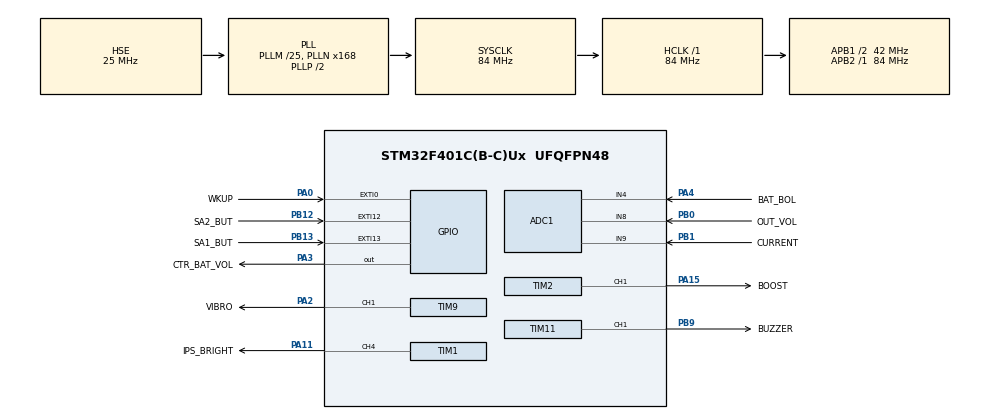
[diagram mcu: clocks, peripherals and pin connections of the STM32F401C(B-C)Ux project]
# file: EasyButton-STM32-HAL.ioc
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ADC1.Channel-0\#ChannelRegularConversion=ADC_CHANNEL_4
ADC1.Channel-1\#ChannelRegularConversion=ADC_CHANNEL_8
ADC1.Channel-2\#ChannelRegularConversion=ADC_CHANNEL_9
ADC1.Channel-3\#ChannelRegularConversion=ADC_CHANNEL_VREFINT
ADC1.ContinuousConvMode=ENABLE
ADC1.DMAContinuousRequests=ENABLE
ADC1.ExternalTrigConv=ADC_EXTERNALTRIGCONV_T3_TRGO
ADC1.InjNumberOfConversion=0
ADC1.NbrOfConversion=4
ADC1.NbrOfConversionFlag=1
ADC1.Rank-0\#ChannelRegularConversion=1
ADC1.Rank-1\#ChannelRegularConversion=2
ADC1.Rank-2\#ChannelRegularConversion=3
ADC1.Rank-3\#ChannelRegularConversion=4
ADC1.SamplingTime-0\#ChannelRegularConversion=ADC_SAMPLETIME_480CYCLES
ADC1.SamplingTime-1\#ChannelRegularConversion=ADC_SAMPLETIME_480CYCLES
ADC1.SamplingTime-2\#ChannelRegularConversion=ADC_SAMPLETIME_480CYCLES
ADC1.SamplingTime-3\#ChannelRegularConversion=ADC_SAMPLETIME_480CYCLES
ADC1.ScanConvMode=ENABLE
ADC1.master=1
Dma.ADC1.0.Direction=DMA_PERIPH_TO_MEMORY
Dma.ADC1.0.FIFOMode=DMA_FIFOMODE_DISABLE
Dma.ADC1.0.Instance=DMA2_Stream0
Dma.ADC1.0.MemDataAlignment=DMA_MDATAALIGN_WORD
Dma.ADC1.0.MemInc=DMA_MINC_ENABLE
Dma.ADC1.0.Mode=DMA_CIRCULAR
Dma.ADC1.0.PeriphDataAlignment=DMA_PDATAALIGN_WORD
Dma.ADC1.0.PeriphInc=DMA_PINC_DISABLE
Dma.ADC1.0.Priority=DMA_PRIORITY_LOW
Dma.Request0=ADC1
FREERTOS.Tasks01=ButtonTask,24,128,StartButtonTask,Default,NULL,Dynamic,NULL,NULL;AdcCalc,24,512,StartAdcCalc,Default,NULL,Dynamic,NULL,NULL;Handler1ms,25,128,StartHandler1ms,Default,NULL,Dynamic,NULL,NULL
Mcu.Family=STM32F4
Mcu.Name=STM32F401C(B-C)Ux
Mcu.Package=UFQFPN48
NVIC.ADC_IRQn=true\:5\:0\:false\:false\:true\:true\:true\:true\:true
NVIC.DMA2_Stream0_IRQn=true\:5\:0\:false\:false\:true\:true\:false\:true\:true
NVIC.EXTI0_IRQn=true\:5\:0\:false\:false\:true\:true\:true\:true\:true
NVIC.EXTI15_10_IRQn=true\:5\:0\:false\:false\:true\:true\:true\:true\:true
NVIC.PriorityGroup=NVIC_PRIORITYGROUP_4
NVIC.TIM1_UP_TIM10_IRQn=true\:15\:0\:false\:false\:true\:false\:false\:true\:true
NVIC.TimeBase=TIM1_UP_TIM10_IRQn
NVIC.TimeBaseIP=TIM10
PA0-WKUP.GPIO_Label=WKUP
PA0-WKUP.GPIO_ModeDefaultEXTI=GPIO_MODE_IT_FALLING
PA0-WKUP.GPIO_PuPd=GPIO_PULLUP
PA0-WKUP.Signal=GPXTI0
PA11.GPIO_Label=IPS_BRIGHT
PA11.GPIO_PuPd=GPIO_PULLUP
PA11.GPIO_Speed=GPIO_SPEED_FREQ_MEDIUM
PA11.Signal=S_TIM1_CH4
PA13.Mode=Trace_Asynchronous_SW
PA13.Signal=SYS_JTMS-SWDIO
PA14.Mode=Trace_Asynchronous_SW
PA14.Signal=SYS_JTCK-SWCLK
PA15.GPIO_Label=BOOST
PA15.GPIO_PuPd=GPIO_PULLDOWN
PA15.GPIO_Speed=GPIO_SPEED_FREQ_VERY_HIGH
PA15.Signal=S_TIM2_CH1_ETR
PA2.GPIO_Label=VIBRO
PA2.Signal=S_TIM9_CH1
PA3.GPIO_Label=CTR_BAT_VOL
PA3.GPIO_ModeDefaultOutputPP=GPIO_MODE_OUTPUT_OD
PA3.GPIO_PuPd=GPIO_NOPULL
PA3.PinState=GPIO_PIN_RESET
PA3.Signal=GPIO_Output
PA4.GPIO_Label=BAT_BOL
PA4.Signal=ADCx_IN4
PB0.GPIO_Label=OUT_VOL
PB0.Signal=ADCx_IN8
PB1.GPIO_Label=CURRENT
PB1.Signal=ADCx_IN9
PB12.GPIO_Label=SA2_BUT
PB12.GPIO_ModeDefaultEXTI=GPIO_MODE_IT_FALLING
PB12.GPIO_PuPd=GPIO_PULLUP
PB12.Signal=GPXTI12
PB13.GPIO_Label=SA1_BUT
PB13.GPIO_ModeDefaultEXTI=GPIO_MODE_IT_FALLING
PB13.GPIO_PuPd=GPIO_PULLUP
PB13.Signal=GPXTI13
PB3.Mode=Trace_Asynchronous_SW
PB3.Signal=SYS_JTDO-SWO
PB9.GPIO_Label=BUZZER
PB9.GPIO_PuPd=GPIO_PULLDOWN
PB9.GPIO_Speed=GPIO_SPEED_FREQ_MEDIUM
PB9.Signal=S_TIM11_CH1
PH0\ -\ OSC_IN.Mode=HSE-External-Oscillator
PH0\ -\ OSC_IN.Signal=RCC_OSC_IN
PH1\ -\ OSC_OUT.Mode=HSE-External-Oscillator
PH1\ -\ OSC_OUT.Signal=RCC_OSC_OUT
ProjectManager.HeapSize=0x400
ProjectManager.StackSize=0x800
ProjectManager.TargetToolchain=STM32CubeIDE
RCC.48MHZClocksFreq_Value=42000000
RCC.AHBFreq_Value=84000000
RCC.APB1CLKDivider=RCC_HCLK_DIV2
RCC.APB1Freq_Value=42000000
RCC.APB1TimFreq_Value=84000000
RCC.APB2Freq_Value=84000000
RCC.APB2TimFreq_Value=84000000
RCC.CortexFreq_Value=84000000
RCC.EnbaleCSS=true
RCC.HCLKFreq_Value=84000000
RCC.HSE_VALUE=25000000
RCC.HSI_VALUE=16000000
RCC.LSE_VALUE=32768
RCC.PLLM=25
RCC.PLLN=168
RCC.PLLSourceVirtual=RCC_PLLSOURCE_HSE
RCC.SYSCLKFreq_VALUE=84000000
RCC.SYSCLKSource=RCC_SYSCLKSOURCE_PLLCLK
RCC.VCOOutputFreq_Value=168000000
SH.ADCx_IN4.0=ADC1_IN4,IN4
SH.ADCx_IN8.0=ADC1_IN8,IN8
SH.ADCx_IN9.0=ADC1_IN9,IN9
SH.S_TIM11_CH1.0=TIM11_CH1,PWM Generation1 CH1
SH.S_TIM1_CH4.0=TIM1_CH4,PWM Generation4 CH4
SH.S_TIM2_CH1_ETR.0=TIM2_CH1,PWM Generation1 CH1
SH.S_TIM9_CH1.0=TIM9_CH1,PWM Generation1 CH1
TIM1.Channel-PWM\ Generation4\ CH4=TIM_CHANNEL_4
TIM1.OCIdleState_4=TIM_OCIDLESTATE_SET
TIM1.OCPolarity_4=TIM_OCPOLARITY_LOW
TIM1.Period=1000-1
TIM1.Prescaler=84-1
TIM1.Pulse-PWM\ Generation4\ CH4=500
TIM11.Channel=TIM_CHANNEL_1
TIM11.Period=1000-1
TIM11.Prescaler=42-1
TIM2.Channel-PWM\ Generation1\ CH1=TIM_CHANNEL_1
TIM2.Period=2100-1
TIM2.Prescaler=0
TIM2.Pulse-PWM\ Generation1\ CH1=0
TIM3.Period=10000-1
TIM3.Prescaler=420-2
TIM3.TIM_MasterOutputTrigger=TIM_TRGO_UPDATE
TIM9.Channel-PWM\ Generation1\ CH1=TIM_CHANNEL_1
TIM9.Period=1000-1
TIM9.Prescaler=84-1
TIM9.Pulse-PWM\ Generation1\ CH1=500
VP_ADC1_Vref_Input.Mode=IN-Vrefint
VP_FREERTOS_VS_CMSIS_V2.Mode=CMSIS_V2
VP_SYS_VS_tim10.Mode=TIM10
VP_TIM11_VS_ClockSourceINT.Mode=Enable_Timer
VP_TIM1_VS_ClockSourceINT.Mode=Internal
VP_TIM2_VS_ClockSourceINT.Mode=Internal
VP_TIM3_VS_ClockSourceINT.Mode=Internal
VP_TIM9_VS_ClockSourceINT.Mode=Internal
board=custom

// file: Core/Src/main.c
/* USER CODE BEGIN Header */
/**
  ******************************************************************************
  * @file           : main.c
  * @brief          : Main program body
  ******************************************************************************
  * @attention
  *
  * Copyright (c) 2022 STMicroelectronics.
  * All rights reserved.
  *
  * This software is licensed under terms that can be found in the LICENSE file
  * in the root directory of this software component.
  * If no LICENSE file comes with this software, it is provided AS-IS.
  *
  ******************************************************************************
  */
/* USER CODE END Header */
#include "main.h"
#include "cmsis_os.h"

/* USER CODE BEGIN Includes */
#include "easybut.h"
/* USER CODE END Includes */

 ADC_HandleTypeDef hadc1;
DMA_HandleTypeDef hdma_adc1;

TIM_HandleTypeDef htim1;
TIM_HandleTypeDef htim2;
TIM_HandleTypeDef htim3;
TIM_HandleTypeDef htim9;
TIM_HandleTypeDef htim11;

/* Definitions for ButtonTask */
osThreadId_t ButtonTaskHandle;
const osThreadAttr_t ButtonTask_attributes = {
  .name = "ButtonTask",
  .stack_size = 128 * 4,
  .priority = (osPriority_t) osPriorityNormal,
};
/* Definitions for AdcCalc */
osThreadId_t AdcCalcHandle;
const osThreadAttr_t AdcCalc_attributes = {
  .name = "AdcCalc",
  .stack_size = 512 * 4,
  .priority = (osPriority_t) osPriorityNormal,
};
/* Definitions for Handler1ms */
osThreadId_t Handler1msHandle;
const osThreadAttr_t Handler1ms_attributes = {
  .name = "Handler1ms",
  .stack_size = 128 * 4,
  .priority = (osPriority_t) osPriorityNormal1,
};

void SystemClock_Config(void);
static void MX_GPIO_Init(void);
static void MX_TIM11_Init(void);
static void MX_TIM2_Init(void);
static void MX_DMA_Init(void);
static void MX_TIM9_Init(void);
static void MX_ADC1_Init(void);
static void MX_TIM1_Init(void);
static void MX_TIM3_Init(void);
void StartButtonTask(void *argument);
void StartAdcCalc(void *argument);
void StartHandler1ms(void *argument);

int main(void)
{

  /* MCU Configuration--------------------------------------------------------*/

  /* Reset of all peripherals, Initializes the Flash interface and the Systick. */
  HAL_Init();

  /* Configure the system clock */
  SystemClock_Config();

  /* Initialize all configured peripherals */
  MX_GPIO_Init();
  MX_TIM11_Init();
  MX_TIM2_Init();
  MX_DMA_Init();
  MX_TIM9_Init();
  MX_ADC1_Init();
  MX_TIM1_Init();
  MX_TIM3_Init();
  /* USER CODE BEGIN 2 */

  /* Buzzer */
  HAL_TIM_PWM_Start(&htim11, TIM_CHANNEL_1);
  __HAL_TIM_SET_COMPARE(&htim11, TIM_CHANNEL_1, 0);

  EASYBUT_InitButton(BUT_SA1, SA1_BUT_GPIO_Port, SA1_BUT_Pin);
  EASYBUT_InitButton(BUT_SA2, SA2_BUT_GPIO_Port, SA2_BUT_Pin);
  EASYBUT_InitButton(BUT_WKUP, WKUP_GPIO_Port, WKUP_Pin);

  /* USER CODE END 2 */

  /* Init scheduler */
  osKernelInitialize();

  /* Create the thread(s) */
  /* creation of ButtonTask */
  ButtonTaskHandle = osThreadNew(StartButtonTask, NULL, &ButtonTask_attributes);

  /* creation of AdcCalc */
  AdcCalcHandle = osThreadNew(StartAdcCalc, NULL, &AdcCalc_attributes);

  /* creation of Handler1ms */
  Handler1msHandle = osThreadNew(StartHandler1ms, NULL, &Handler1ms_attributes);

  /* Start scheduler */
  osKernelStart();

  /* We should never get here as control is now taken by the scheduler */
  /* Infinite loop */
  while (1)
  {

  }
}

void SystemClock_Config(void)
{
  RCC_OscInitTypeDef RCC_OscInitStruct = {0};
  RCC_ClkInitTypeDef RCC_ClkInitStruct = {0};

  /** Configure the main internal regulator output voltage
  */
  __HAL_RCC_PWR_CLK_ENABLE();
  __HAL_PWR_VOLTAGESCALING_CONFIG(PWR_REGULATOR_VOLTAGE_SCALE2);

  /** Initializes the RCC Oscillators according to the specified parameters
  * in the RCC_OscInitTypeDef structure.
  */
  RCC_OscInitStruct.OscillatorType = RCC_OSCILLATORTYPE_HSE;
  RCC_OscInitStruct.HSEState = RCC_HSE_ON;
  RCC_OscInitStruct.PLL.PLLState = RCC_PLL_ON;
  RCC_OscInitStruct.PLL.PLLSource = RCC_PLLSOURCE_HSE;
  RCC_OscInitStruct.PLL.PLLM = 25;
  RCC_OscInitStruct.PLL.PLLN = 168;
  RCC_OscInitStruct.PLL.PLLP = RCC_PLLP_DIV2;
  RCC_OscInitStruct.PLL.PLLQ = 4;
  if (HAL_RCC_OscConfig(&RCC_OscInitStruct) != HAL_OK)
  {
    Error_Handler();
  }

  /** Initializes the CPU, AHB and APB buses clocks
  */
  RCC_ClkInitStruct.ClockType = RCC_CLOCKTYPE_HCLK|RCC_CLOCKTYPE_SYSCLK
                              |RCC_CLOCKTYPE_PCLK1|RCC_CLOCKTYPE_PCLK2;
  RCC_ClkInitStruct.SYSCLKSource = RCC_SYSCLKSOURCE_PLLCLK;
  RCC_ClkInitStruct.AHBCLKDivider = RCC_SYSCLK_DIV1;
  RCC_ClkInitStruct.APB1CLKDivider = RCC_HCLK_DIV2;
  RCC_ClkInitStruct.APB2CLKDivider = RCC_HCLK_DIV1;

  if (HAL_RCC_ClockConfig(&RCC_ClkInitStruct, FLASH_LATENCY_2) != HAL_OK)
  {
    Error_Handler();
  }

  /** Enables the Clock Security System
  */
  HAL_RCC_EnableCSS();
}

static void MX_ADC1_Init(void)
{

  ADC_ChannelConfTypeDef sConfig = {0};

  /** Configure the global features of the ADC (Clock, Resolution, Data Alignment and number of conversion)
  */
  hadc1.Instance = ADC1;
  hadc1.Init.ClockPrescaler = ADC_CLOCK_SYNC_PCLK_DIV4;
  hadc1.Init.Resolution = ADC_RESOLUTION_12B;
  hadc1.Init.ScanConvMode = ENABLE;
  hadc1.Init.ContinuousConvMode = ENABLE;
  hadc1.Init.DiscontinuousConvMode = DISABLE;
  hadc1.Init.ExternalTrigConvEdge = ADC_EXTERNALTRIGCONVEDGE_RISING;
  hadc1.Init.ExternalTrigConv = ADC_EXTERNALTRIGCONV_T3_TRGO;
  hadc1.Init.DataAlign = ADC_DATAALIGN_RIGHT;
  hadc1.Init.NbrOfConversion = 4;
  hadc1.Init.DMAContinuousRequests = ENABLE;
  hadc1.Init.EOCSelection = ADC_EOC_SINGLE_CONV;
  if (HAL_ADC_Init(&hadc1) != HAL_OK)
  {
    Error_Handler();
  }

  /** Configure for the selected ADC regular channel its corresponding rank in the sequencer and its sample time.
  */
  sConfig.Channel = ADC_CHANNEL_4;
  sConfig.Rank = 1;
  sConfig.SamplingTime = ADC_SAMPLETIME_480CYCLES;
  if (HAL_ADC_ConfigChannel(&hadc1, &sConfig) != HAL_OK)
  {
    Error_Handler();
  }

  /** Configure for the selected ADC regular channel its corresponding rank in the sequencer and its sample time.
  */
  sConfig.Channel = ADC_CHANNEL_8;
  sConfig.Rank = 2;
  if (HAL_ADC_ConfigChannel(&hadc1, &sConfig) != HAL_OK)
  {
    Error_Handler();
  }

  /** Configure for the selected ADC regular channel its corresponding rank in the sequencer and its sample time.
  */
  sConfig.Channel = ADC_CHANNEL_9;
  sConfig.Rank = 3;
  if (HAL_ADC_ConfigChannel(&hadc1, &sConfig) != HAL_OK)
  {
    Error_Handler();
  }

  /** Configure for the selected ADC regular channel its corresponding rank in the sequencer and its sample time.
  */
  sConfig.Channel = ADC_CHANNEL_VREFINT;
  sConfig.Rank = 4;
  if (HAL_ADC_ConfigChannel(&hadc1, &sConfig) != HAL_OK)
  {
    Error_Handler();
  }

}

static void MX_TIM1_Init(void)
{

  TIM_ClockConfigTypeDef sClockSourceConfig = {0};
  TIM_MasterConfigTypeDef sMasterConfig = {0};
  TIM_OC_InitTypeDef sConfigOC = {0};
  TIM_BreakDeadTimeConfigTypeDef sBreakDeadTimeConfig = {0};

  htim1.Instance = TIM1;
  htim1.Init.Prescaler = 84-1;
  htim1.Init.CounterMode = TIM_COUNTERMODE_UP;
  htim1.Init.Period = 1000-1;
  htim1.Init.ClockDivision = TIM_CLOCKDIVISION_DIV1;
  htim1.Init.RepetitionCounter = 0;
  htim1.Init.AutoReloadPreload = TIM_AUTORELOAD_PRELOAD_DISABLE;
  if (HAL_TIM_Base_Init(&htim1) != HAL_OK)
  {
    Error_Handler();
  }
  sClockSourceConfig.ClockSource = TIM_CLOCKSOURCE_INTERNAL;
  if (HAL_TIM_ConfigClockSource(&htim1, &sClockSourceConfig) != HAL_OK)
  {
    Error_Handler();
  }
  if (HAL_TIM_PWM_Init(&htim1) != HAL_OK)
  {
    Error_Handler();
  }
  sMasterConfig.MasterOutputTrigger = TIM_TRGO_RESET;
  sMasterConfig.MasterSlaveMode = TIM_MASTERSLAVEMODE_DISABLE;
  if (HAL_TIMEx_MasterConfigSynchronization(&htim1, &sMasterConfig) != HAL_OK)
  {
    Error_Handler();
  }
  sConfigOC.OCMode = TIM_OCMODE_PWM1;
  sConfigOC.Pulse = 500;
  sConfigOC.OCPolarity = TIM_OCPOLARITY_LOW;
  sConfigOC.OCFastMode = TIM_OCFAST_DISABLE;
  sConfigOC.OCIdleState = TIM_OCIDLESTATE_SET;
  sConfigOC.OCNIdleState = TIM_OCNIDLESTATE_RESET;
  if (HAL_TIM_PWM_ConfigChannel(&htim1, &sConfigOC, TIM_CHANNEL_4) != HAL_OK)
  {
    Error_Handler();
  }
  sBreakDeadTimeConfig.OffStateRunMode = TIM_OSSR_DISABLE;
  sBreakDeadTimeConfig.OffStateIDLEMode = TIM_OSSI_DISABLE;
  sBreakDeadTimeConfig.LockLevel = TIM_LOCKLEVEL_OFF;
  sBreakDeadTimeConfig.DeadTime = 0;
  sBreakDeadTimeConfig.BreakState = TIM_BREAK_DISABLE;
  sBreakDeadTimeConfig.BreakPolarity = TIM_BREAKPOLARITY_HIGH;
  sBreakDeadTimeConfig.AutomaticOutput = TIM_AUTOMATICOUTPUT_DISABLE;
  if (HAL_TIMEx_ConfigBreakDeadTime(&htim1, &sBreakDeadTimeConfig) != HAL_OK)
  {
    Error_Handler();
  }
  HAL_TIM_MspPostInit(&htim1);

}

static void MX_TIM2_Init(void)
{

  TIM_ClockConfigTypeDef sClockSourceConfig = {0};
  TIM_MasterConfigTypeDef sMasterConfig = {0};
  TIM_OC_InitTypeDef sConfigOC = {0};

  htim2.Instance = TIM2;
  htim2.Init.Prescaler = 0;
  htim2.Init.CounterMode = TIM_COUNTERMODE_UP;
  htim2.Init.Period = 2100-1;
  htim2.Init.ClockDivision = TIM_CLOCKDIVISION_DIV1;
  htim2.Init.AutoReloadPreload = TIM_AUTORELOAD_PRELOAD_DISABLE;
  if (HAL_TIM_Base_Init(&htim2) != HAL_OK)
  {
    Error_Handler();
  }
  sClockSourceConfig.ClockSource = TIM_CLOCKSOURCE_INTERNAL;
  if (HAL_TIM_ConfigClockSource(&htim2, &sClockSourceConfig) != HAL_OK)
  {
    Error_Handler();
  }
  if (HAL_TIM_PWM_Init(&htim2) != HAL_OK)
  {
    Error_Handler();
  }
  sMasterConfig.MasterOutputTrigger = TIM_TRGO_RESET;
  sMasterConfig.MasterSlaveMode = TIM_MASTERSLAVEMODE_DISABLE;
  if (HAL_TIMEx_MasterConfigSynchronization(&htim2, &sMasterConfig) != HAL_OK)
  {
    Error_Handler();
  }
  sConfigOC.OCMode = TIM_OCMODE_PWM1;
  sConfigOC.Pulse = 0;
  sConfigOC.OCPolarity = TIM_OCPOLARITY_HIGH;
  sConfigOC.OCFastMode = TIM_OCFAST_DISABLE;
  if (HAL_TIM_PWM_ConfigChannel(&htim2, &sConfigOC, TIM_CHANNEL_1) != HAL_OK)
  {
    Error_Handler();
  }
  HAL_TIM_MspPostInit(&htim2);

}

static void MX_TIM3_Init(void)
{

  TIM_ClockConfigTypeDef sClockSourceConfig = {0};
  TIM_MasterConfigTypeDef sMasterConfig = {0};

  htim3.Instance = TIM3;
  htim3.Init.Prescaler = 420-2;
  htim3.Init.CounterMode = TIM_COUNTERMODE_UP;
  htim3.Init.Period = 10000-1;
  htim3.Init.ClockDivision = TIM_CLOCKDIVISION_DIV1;
  htim3.Init.AutoReloadPreload = TIM_AUTORELOAD_PRELOAD_DISABLE;
  if (HAL_TIM_Base_Init(&htim3) != HAL_OK)
  {
    Error_Handler();
  }
  sClockSourceConfig.ClockSource = TIM_CLOCKSOURCE_INTERNAL;
  if (HAL_TIM_ConfigClockSource(&htim3, &sClockSourceConfig) != HAL_OK)
  {
    Error_Handler();
  }
  sMasterConfig.MasterOutputTrigger = TIM_TRGO_UPDATE;
  sMasterConfig.MasterSlaveMode = TIM_MASTERSLAVEMODE_DISABLE;
  if (HAL_TIMEx_MasterConfigSynchronization(&htim3, &sMasterConfig) != HAL_OK)
  {
    Error_Handler();
  }

}

static void MX_TIM9_Init(void)
{

  TIM_ClockConfigTypeDef sClockSourceConfig = {0};
  TIM_OC_InitTypeDef sConfigOC = {0};

  htim9.Instance = TIM9;
  htim9.Init.Prescaler = 84-1;
  htim9.Init.CounterMode = TIM_COUNTERMODE_UP;
  htim9.Init.Period = 1000-1;
  htim9.Init.ClockDivision = TIM_CLOCKDIVISION_DIV1;
  htim9.Init.AutoReloadPreload = TIM_AUTORELOAD_PRELOAD_DISABLE;
  if (HAL_TIM_Base_Init(&htim9) != HAL_OK)
  {
    Error_Handler();
  }
  sClockSourceConfig.ClockSource = TIM_CLOCKSOURCE_INTERNAL;
  if (HAL_TIM_ConfigClockSource(&htim9, &sClockSourceConfig) != HAL_OK)
  {
    Error_Handler();
  }
  if (HAL_TIM_PWM_Init(&htim9) != HAL_OK)
  {
    Error_Handler();
  }
  sConfigOC.OCMode = TIM_OCMODE_PWM1;
  sConfigOC.Pulse = 500;
  sConfigOC.OCPolarity = TIM_OCPOLARITY_HIGH;
  sConfigOC.OCFastMode = TIM_OCFAST_DISABLE;
  if (HAL_TIM_PWM_ConfigChannel(&htim9, &sConfigOC, TIM_CHANNEL_1) != HAL_OK)
  {
    Error_Handler();
  }
  HAL_TIM_MspPostInit(&htim9);

}

static void MX_TIM11_Init(void)
{

  TIM_OC_InitTypeDef sConfigOC = {0};

  htim11.Instance = TIM11;
  htim11.Init.Prescaler = 42-1;
  htim11.Init.CounterMode = TIM_COUNTERMODE_UP;
  htim11.Init.Period = 1000-1;
  htim11.Init.ClockDivision = TIM_CLOCKDIVISION_DIV1;
  htim11.Init.AutoReloadPreload = TIM_AUTORELOAD_PRELOAD_DISABLE;
  if (HAL_TIM_Base_Init(&htim11) != HAL_OK)
  {
    Error_Handler();
  }
  if (HAL_TIM_PWM_Init(&htim11) != HAL_OK)
  {
    Error_Handler();
  }
  sConfigOC.OCMode = TIM_OCMODE_PWM1;
  sConfigOC.Pulse = 0;
  sConfigOC.OCPolarity = TIM_OCPOLARITY_HIGH;
  sConfigOC.OCFastMode = TIM_OCFAST_DISABLE;
  if (HAL_TIM_PWM_ConfigChannel(&htim11, &sConfigOC, TIM_CHANNEL_1) != HAL_OK)
  {
    Error_Handler();
  }
  HAL_TIM_MspPostInit(&htim11);

}

static void MX_DMA_Init(void)
{

  /* DMA controller clock enable */
  __HAL_RCC_DMA2_CLK_ENABLE();

  /* DMA interrupt init */
  /* DMA2_Stream0_IRQn interrupt configuration */
  HAL_NVIC_SetPriority(DMA2_Stream0_IRQn, 5, 0);
  HAL_NVIC_EnableIRQ(DMA2_Stream0_IRQn);

}

static void MX_GPIO_Init(void)
{
  GPIO_InitTypeDef GPIO_InitStruct = {0};

  /* GPIO Ports Clock Enable */
  __HAL_RCC_GPIOH_CLK_ENABLE();
  __HAL_RCC_GPIOA_CLK_ENABLE();
  __HAL_RCC_GPIOB_CLK_ENABLE();

  /*Configure GPIO pin Output Level */
  HAL_GPIO_WritePin(CTR_BAT_VOL_GPIO_Port, CTR_BAT_VOL_Pin, GPIO_PIN_RESET);

  /*Configure GPIO pin : WKUP_Pin */
  GPIO_InitStruct.Pin = WKUP_Pin;
  GPIO_InitStruct.Mode = GPIO_MODE_IT_FALLING;
  GPIO_InitStruct.Pull = GPIO_PULLUP;
  HAL_GPIO_Init(WKUP_GPIO_Port, &GPIO_InitStruct);

  /*Configure GPIO pin : CTR_BAT_VOL_Pin */
  GPIO_InitStruct.Pin = CTR_BAT_VOL_Pin;
  GPIO_InitStruct.Mode = GPIO_MODE_OUTPUT_OD;
  GPIO_InitStruct.Pull = GPIO_NOPULL;
  GPIO_InitStruct.Speed = GPIO_SPEED_FREQ_LOW;
  HAL_GPIO_Init(CTR_BAT_VOL_GPIO_Port, &GPIO_InitStruct);

  /*Configure GPIO pins : SA2_BUT_Pin SA1_BUT_Pin */
  GPIO_InitStruct.Pin = SA2_BUT_Pin|SA1_BUT_Pin;
  GPIO_InitStruct.Mode = GPIO_MODE_IT_FALLING;
  GPIO_InitStruct.Pull = GPIO_PULLUP;
  HAL_GPIO_Init(GPIOB, &GPIO_InitStruct);

  /* EXTI interrupt init*/
  HAL_NVIC_SetPriority(EXTI0_IRQn, 5, 0);
  HAL_NVIC_EnableIRQ(EXTI0_IRQn);

  HAL_NVIC_SetPriority(EXTI15_10_IRQn, 5, 0);
  HAL_NVIC_EnableIRQ(EXTI15_10_IRQn);

}

void StartButtonTask(void *argument)
{
  /* USER CODE BEGIN 5 */
  /* Infinite loop */
  for(;;)
  {
	  EASYBUT_Handler();

	  // WORKS
	  	  if(EASYBUT_getButtonState(BUT_SA2, BUT_LONG_PRESS)){
	  		__HAL_TIM_SET_COMPARE(&htim11, TIM_CHANNEL_1, 500);
	  	  }

	  	  if(EASYBUT_getButtonState(BUT_SA2, BUT_SHORT_PRESS)){
	  		__HAL_TIM_SET_COMPARE(&htim11, TIM_CHANNEL_1, 0);
	  	  }

//	  // WORKS
	  static uint8_t toggle2 = 0;
	  if(EASYBUT_getButtonState(BUT_WKUP, BUT_SHORT_PRESS))
	  {
		  toggle2 = ~toggle2;

		  if(toggle2){
			  __HAL_TIM_SET_COMPARE(&htim11, TIM_CHANNEL_1, 500);
		  }
		  else{
			  __HAL_TIM_SET_COMPARE(&htim11, TIM_CHANNEL_1, 0);

		  }
	  }

    osDelay(1);
  }
  /* USER CODE END 5 */
}

void StartAdcCalc(void *argument)
{
  for(;;)
  {
    osDelay(1);
  }
}

void StartHandler1ms(void *argument)
{
  for(;;)
  {
    osDelay(1);
  }
}

void HAL_TIM_PeriodElapsedCallback(TIM_HandleTypeDef *htim)
{
  if (htim->Instance == TIM10) {
    HAL_IncTick();
  }
}

void Error_Handler(void)
{
  __disable_irq();
  while (1)
  {
  }
}
